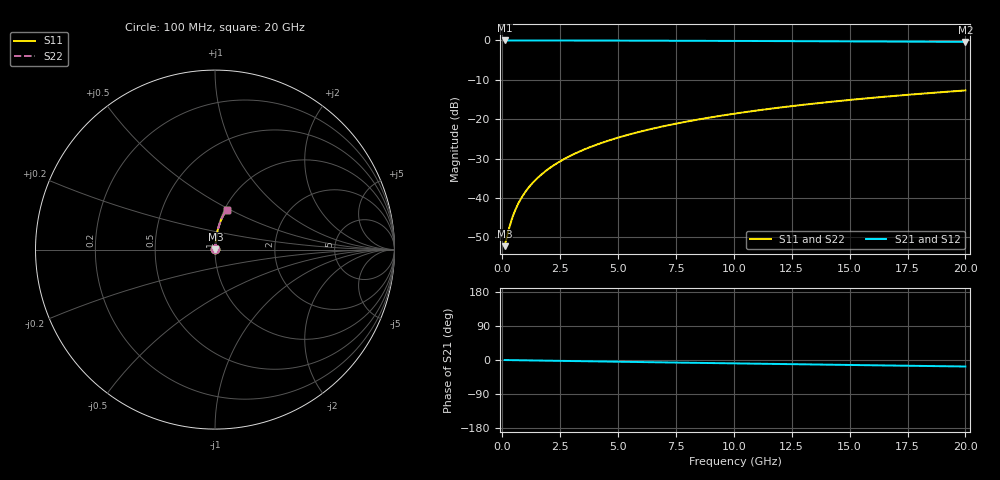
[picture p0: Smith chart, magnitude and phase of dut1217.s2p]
! Touchstone file exported from HFSS 2024.1.0
!  File:  C:/UserFiles/LocalFiles/RDL_TSV_Batchsim/temp_RDL_bottom_1217_1780243964.aedt
!  Generated:  12:15:28 AM Jun  1, 2026
!  Design:  RDL_bottom
!  Project:  temp_RDL_bottom_1217_1780243964
!  Setup:  Setup1
!  Solution:  Sweep
! Variables:
!  dtsv = 10.80580581um
!  hbump = 3um
!  htsv = 99.11um
!  ldown = 171.18um
!  lrdl = 100um
!  p = 40
!  p1 = 47.22um
!  rhole = 1um
!  t = 450um
!  tdown = 2.77um
!  trdl = 3.915915916um
!  wdown = 11.27um
!  wrdl = 20um
# GHz S MA R 50.000000
! Terminal data exported
! Port[1] = RDL1_T1
! Port[2] = RDL1_T2
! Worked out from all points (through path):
!   200 points, 100 MHz to 20 GHz, reference 50 ohm
!   highest |S21| = -0.02 dB at 100 MHz (marker M1); lowest = -0.4 dB at 20 GHz (marker M2)
!   group delay of S21, straight-line fit = 2.38 ps
!   lowest |S11| = -52.2 dB at 100 MHz (marker M3), VSWR 1.00, Z = 50.2 + j0.121 ohm
!   |S11| at or under -10 dB: start of sweep to end of sweep
!   |S22| runs from -52.2 to -12.7 dB; largest |S21 - S12| = 3.6e-15
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0.1  0.002454 29.3  0.9979 -0.1  0.9979 -0.1  0.002454 29.3
! Gamma 0 0 0 0
! Port Impedance 50 0 50 0
0.3  0.004203 58.6  0.9978 -0.3  0.9978 -0.3  0.004203 58.6
0.4  0.005264 65.0  0.9978 -0.4  0.9978 -0.4  0.005264 65.0
0.5  0.006363 69.2  0.9977 -0.5  0.9977 -0.5  0.006363 69.2
0.6  0.00748 72.0  0.9977 -0.6  0.9977 -0.6  0.00748 72.0
0.7  0.008605 74.2  0.9976 -0.7  0.9976 -0.7  0.008605 74.2
0.9  0.01087 77.1  0.9975 -0.8  0.9975 -0.8  0.01087 77.1
1.2  0.01429 79.7  0.9974 -1.1  0.9974 -1.1  0.01429 79.7
1.4  0.01658 80.8  0.9973 -1.3  0.9973 -1.3  0.01658 80.8
1.7  0.02002 82.0  0.9971 -1.6  0.9971 -1.6  0.02002 82.0
2.2  0.02579 83.2  0.9968 -2.0  0.9968 -2.0  0.02579 83.2
2.8  0.03274 83.9  0.9963 -2.6  0.9963 -2.6  0.03274 83.9
3.5  0.04088 84.3  0.9956 -3.2  0.9956 -3.2  0.04088 84.3
4.2  0.04905 84.4  0.9948 -3.8  0.9948 -3.8  0.04905 84.4
5  0.05841 84.3  0.9937 -4.6  0.9937 -4.6  0.05841 84.3
5.9  0.06899 84.0  0.9923 -5.4  0.9923 -5.4  0.06899 84.0
6.8  0.07959 83.6  0.9907 -6.2  0.9907 -6.2  0.07959 83.6
8.3  0.09729 82.7  0.9878 -7.5  0.9878 -7.5  0.09729 82.7
10.1  0.1185 81.6  0.984 -9.0  0.984 -9.0  0.1185 81.5
13.4  0.1571 79.1  0.9759 -11.8  0.9759 -11.8  0.1571 79.1
16.7  0.195 76.5  0.9668 -14.5  0.9668 -14.5  0.195 76.5
20  0.2318 73.8  0.9569 -17.2  0.9569 -17.2  0.2318 73.8
